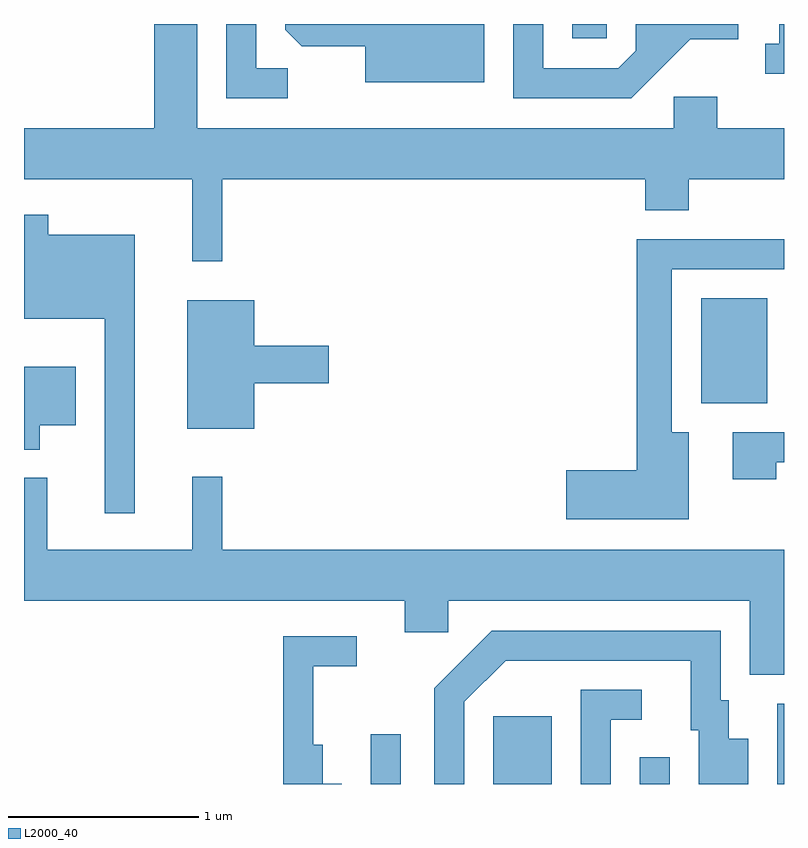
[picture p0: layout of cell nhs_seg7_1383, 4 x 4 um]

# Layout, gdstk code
import gdstk
lib = gdstk.Library(unit=1e-6, precision=1e-09)
def R(c, l, rs):  # rectangles x0, y0, x1, y1
    for r in rs: c.add(gdstk.rectangle(r[:2], r[2:], *l))
def P(c, l, *ps):  # polygons
    for p in ps: c.add(gdstk.Polygon(p, *l))
L2000_40 = (2000, 40)

nhs_seg7_1383 = lib.new_cell('nhs_seg7_1383')
R(nhs_seg7_1383, L2000_40, [(229.436,1702.252,229.594,1702.513), (230.081,1702.252,230.389,1702.609), (230.851,1702.252,231.009,1702.393), (231.576,1702.252,231.611,1702.674), (231.176,1704.256,231.524,1704.809), (230.496,1706.176,230.679,1706.252)])
P(nhs_seg7_1383, L2000_40, [(231.117,1706.171),(231.369,1706.171),(231.369,1706.252),(230.831,1706.252),(230.831,1706.112),(230.739,1706.019),(230.344,1706.019),(230.344,1706.252),(230.186,1706.252),(230.186,1705.861),(230.807,1705.861)],
  [(230.034,1706.252),(228.986,1706.252),(228.986,1706.222),(229.072,1706.136),(229.406,1706.136),(229.406,1705.946),(230.034,1705.946)],
  [(231.611,1706.252),(231.586,1706.252),(231.586,1706.149),(231.513,1706.149),(231.513,1705.991),(231.611,1705.991)],
  [(228.998,1706.019),(228.834,1706.019),(228.834,1706.252),(228.676,1706.252),(228.676,1705.861),(228.998,1705.861)],
  [(228.654,1705.436),(230.881,1705.436),(230.881,1705.271),(231.109,1705.271),(231.109,1705.436),(231.611,1705.436),(231.611,1705.704),(231.259,1705.704),(231.259,1705.869),(231.031,1705.869),(231.031,1705.704),(228.524,1705.704),(228.524,1706.252),(228.296,1706.252),(228.296,1705.704),(227.611,1705.704),(227.611,1705.436),(228.496,1705.436),(228.496,1705.003),(228.654,1705.003)],
  [(228.194,1705.144),(227.739,1705.144),(227.739,1705.248),(227.611,1705.248),(227.611,1704.701),(228.036,1704.701),(228.036,1703.678),(228.194,1703.678)],
  [(231.109,1704.104),(231.019,1704.104),(231.019,1704.961),(231.611,1704.961),(231.611,1705.119),(230.836,1705.119),(230.836,1703.904),(230.466,1703.904),(230.466,1703.646),(231.109,1703.646)],
  [(228.824,1704.361),(229.214,1704.361),(229.214,1704.559),(228.824,1704.559),(228.824,1704.799),(228.471,1704.799),(228.471,1704.121),(228.824,1704.121)],
  [(227.694,1704.141),(227.884,1704.141),(227.884,1704.449),(227.611,1704.449),(227.611,1704.011),(227.694,1704.011)],
  [(231.569,1703.946),(231.611,1703.946),(231.611,1704.104),(231.341,1704.104),(231.341,1703.856),(231.569,1703.856)],
  [(231.611,1703.484),(228.654,1703.484),(228.654,1703.868),(228.496,1703.868),(228.496,1703.484),(227.734,1703.484),(227.734,1703.863),(227.611,1703.863),(227.611,1703.216),(229.616,1703.216),(229.616,1703.051),(229.844,1703.051),(229.844,1703.216),(231.431,1703.216),(231.431,1702.826),(231.611,1702.826)],
  [(229.929,1702.684),(230.147,1702.901),(231.121,1702.901),(231.121,1702.536),(231.161,1702.536),(231.161,1702.252),(231.424,1702.252),(231.424,1702.489),(231.319,1702.489),(231.319,1702.694),(231.279,1702.694),(231.279,1703.059),(230.074,1703.059),(229.771,1702.757),(229.771,1702.252),(229.929,1702.252)],
  [(229.284,1702.254),(229.184,1702.254),(229.184,1702.459),(229.134,1702.459),(229.134,1702.871),(229.363,1702.871),(229.363,1703.029),(228.976,1703.029),(228.976,1702.252),(229.284,1702.252)],
  [(230.699,1702.591),(230.863,1702.591),(230.863,1702.749),(230.541,1702.749),(230.541,1702.252),(230.699,1702.252)])

lib.write_gds('nhs_seg7_1383.gds')
